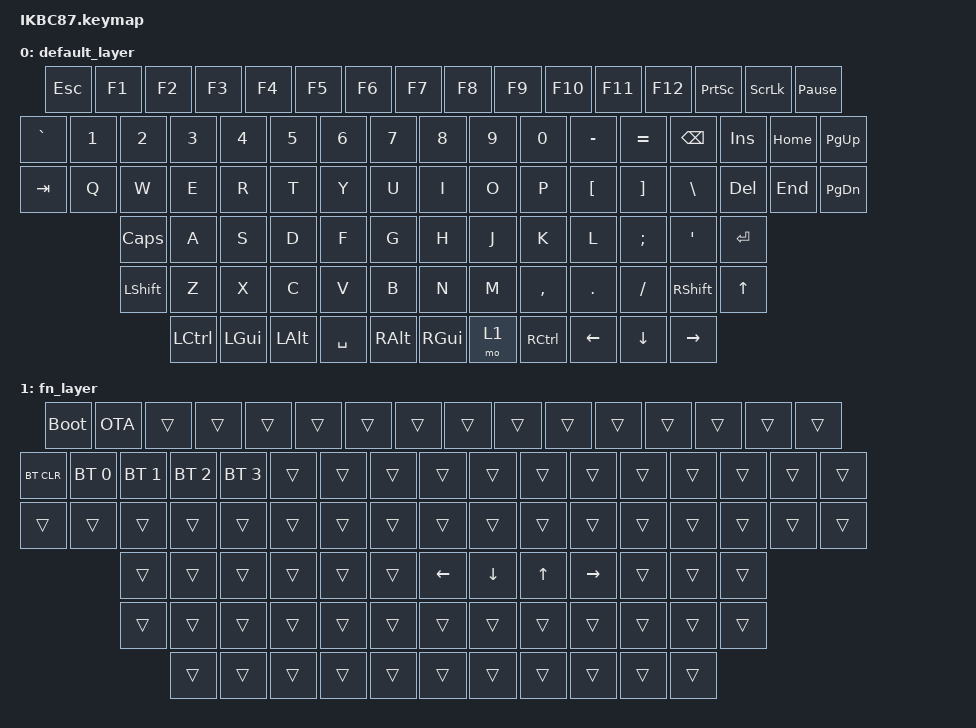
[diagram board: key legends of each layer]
/*
 * Copyright (c) 2021 Nick Winans
 *
 * SPDX-License-Identifier: MIT
 */

#include <behaviors.dtsi>
#include <dt-bindings/zmk/keys.h>
#include <dt-bindings/zmk/rgb.h>
#include <dt-bindings/zmk/bt.h>
#define DEF 0
#define FN 1
#define RSE 2
#define ADJ 3
/ {
    keymap {
        compatible = "zmk,keymap";

        default_layer {
// ------------------------------------------------------------------------------------------
// | ESC |  1  |  2  |  3  |  4  |  5  |  6  |  7  |  8  |  9  |  0  |  -  |  =  |   BSPC   |
// | TAB  |  Q  |  W  |  E  |  R  |  T  |  Y  |  U  |  I  |  O  |  P  |  [  |  ]  |   "|"   |
// | CAPS  |  A  |  S  |  D  |  F  |  G  |  H  |  J  |  K  |  L  |  ;  |  '  |     ENTER    |
// |  SHIFT  |  Z  |  X  |  C  |  V  |  B  |  N  |  M  |  ,  |  .  |  /  |      SHIFT       |
// |  CTL  |  WIN  |  ALT  |            SPACE              |  ALT  |  WIN  |  MO(1) |  CTL  |
// ------------------------------------------------------------------------------------------
            bindings = <
    &kp ESC &kp F1 &kp F2 &kp F3 &kp F4 &kp F5 &kp F6 &kp F7 &kp F8  &kp F9 &kp F10  &kp F11 &kp F12           &kp PSCRN  &kp SCROLLLOCK &kp PAUSE_BREAK
    &kp GRAVE  &kp N1 &kp N2 &kp N3 &kp N4 &kp N5 &kp N6 &kp N7 &kp N8 &kp N9 &kp N0 &kp MINUS &kp EQUAL &kp BSPC  &kp INSERT &kp HOME       &kp PAGE_UP
    &kp TAB  &kp Q  &kp W  &kp E  &kp R  &kp T  &kp Y  &kp U  &kp I  &kp O  &kp P  &kp LBKT  &kp RBKT  &kp BSLH    &kp DEL    &kp END       &kp PAGE_DOWN
    &kp CAPSLOCK  &kp A  &kp S  &kp D  &kp F  &kp G  &kp H  &kp J  &kp K  &kp L  &kp SEMI &kp SQT           &kp RET
    &kp LSHFT   &kp Z  &kp X  &kp C  &kp V  &kp B  &kp N  &kp M  &kp COMMA &kp DOT &kp FSLH           &kp RSHFT                  &kp UP_ARROW
    &kp LCTRL &kp LGUI &kp LALT             &kp SPACE                     &kp RALT  &kp RGUI  &mo 1   &kp RCTRL   &kp LEFT_ARROW &kp DOWN_ARROW &kp RIGHT_ARROW
            >;
        };
                fn_layer {
            bindings = <
    &bootloader &OTA &trans &trans &trans &trans &trans &trans  &trans  &trans &trans  &trans &trans     &trans  &trans &trans
    &bt BT_CLR  &bt BT_SEL 0 &bt BT_SEL 1 &bt BT_SEL 2 &bt BT_SEL 3 &trans &trans &trans &trans &trans &trans &trans &trans &trans  &trans &trans  &trans
    &trans  &trans  &trans  &trans  &trans  &trans  &trans  &trans  &trans  &trans  &trans  &trans  &trans  &trans    &trans    &trans  &trans
    &trans  &trans  &trans  &trans  &trans  &trans  &kp LEFT_ARROW  &kp DOWN_ARROW  &kp UP_ARROW  &kp RIGHT_ARROW  &trans &trans           &trans
    &trans   &trans  &trans  &trans  &trans  &trans  &trans  &trans  &trans &trans &trans           &trans                  &trans
    &trans &trans &trans             &trans                     &trans  &trans  &trans   &trans   &trans &trans &trans
            >;
        };
    };
};
